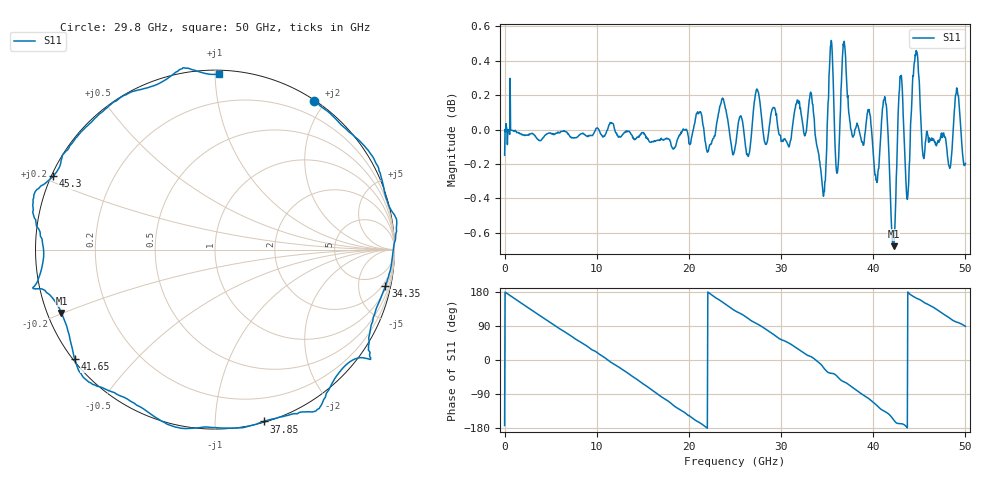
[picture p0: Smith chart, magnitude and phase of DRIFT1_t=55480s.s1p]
!Created with skrf (http://scikit-rf.org).
# Hz S RI R 50.0
!freq ReS11 ImS11
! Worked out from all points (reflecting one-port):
!   1001 points, 300 kHz to 50 GHz, reference 50 ohm
!   lowest |S11| = -0.7 dB at 42.2 GHz (marker M1), VSWR 25.68, Z = 2.02 - j9.88 ohm
!   phase of S11 starts at -173 deg and turns -818 deg over the sweep
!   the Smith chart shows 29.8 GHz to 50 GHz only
!   S11 on the Smith chart (normalised r, x): 29.8 GHz: 0.01, +1.86; 34.35 GHz: 1.29, -9.20; 37.85 GHz: 0.01, -1.33; 41.65 GHz: 0.00, -0.34; 45.3 GHz: 0.01, +0.22; 50 GHz: 0.02, +1.02
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300000  -0.9755 -0.1206
1.450291e9  -0.9126 0.4041
3.25028e9  -0.5926 0.8006
6.250262e9  0.2001 0.9785
9.500243e9  0.8903 0.4462
1.250022e10  0.9321 -0.349
1.580021e10  0.2414 -0.9617
1.73502e10  -0.2088 -0.9712
1.875019e10  -0.5967 -0.7942
2.155017e10  -0.9918 -0.1447
2.345016e10  -0.9297 0.4124
2.500015e10  -0.6343 0.7574
2.745014e10  -0.0866 1.023
2.980012e10  0.5512 0.8302
3.125011e10  0.7841 0.6242
3.31001e10  1.005 0.1829
3.435009e10  0.9491 -0.2046
3.520009e10  0.864 -0.5726
3.750008e10  0.3765 -0.9311
3.785007e10  0.2738 -0.9573
3.960006e10  -0.2359 -0.9833
4.165005e10  -0.7815 -0.6101
4.220005e10  -0.8553 -0.3525
4.290004e10  -1.013 -0.2176
4.375004e10  -0.9562 0.00939
4.530003e10  -0.9013 0.4085
4.765001e10  -0.5077 0.8589
5e10  0.0205 0.9774
